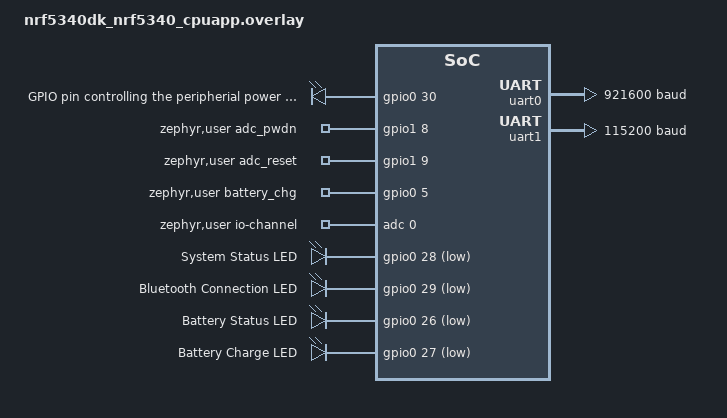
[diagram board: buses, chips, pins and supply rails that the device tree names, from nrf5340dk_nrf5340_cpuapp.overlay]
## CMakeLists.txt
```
cmake_minimum_required(VERSION 3.20.0)
find_package(Zephyr REQUIRED HINTS $ENV{ZEPHYR_BASE})

project(processing_firmware)

target_sources(app PRIVATE 
    src/main.c
    src/system_tasks.c
    src/processing.c
    src/ADS1298/ADS1298.c
)

target_include_directories(app PRIVATE src/ADS1298)
target_include_directories(app PRIVATE src)
```

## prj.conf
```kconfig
CONFIG_GPIO=y
CONFIG_SERIAL=y
CONFIG_UART_ASYNC_API=y
CONFIG_NRFX_UARTE0=y

CONFIG_EVENTS=y

CONFIG_ADC=y
CONFIG_ADC_ASYNC=y

CONFIG_SPI=y
CONFIG_SPI_ASYNC=y
CONFIG_POLL=y

CONFIG_FLASH=y

CONFIG_POWEROFF=y
CONFIG_PM_DEVICE=y

CONFIG_HEAP_MEM_POOL_SIZE=1024
CONFIG_FPU=y

CONFIG_CMSIS_DSP=y
CONFIG_CMSIS_DSP_SVM=y
CONFIG_CMSIS_DSP_FILTERING=y
CONFIG_CMSIS_DSP_STATISTICS=y
```

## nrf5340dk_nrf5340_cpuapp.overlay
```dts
// To get started, press Ctrl+Space to bring up the completion menu and view the available nodes.

// You can also use the buttons in the sidebar to perform actions on nodes.
// Actions currently available include:

// * Enabling / disabling the node
// * Adding the bus to a bus
// * Removing the node
// * Connecting ADC channels

// For more help, browse the DeviceTree documentation at https://docs.zephyrproject.org/latest/guides/dts/index.html
// You can also visit the nRF DeviceTree extension documentation at https://nrfconnect.github.io/vscode-nrf-connect/devicetree/nrfdevicetree.html

/ {
    power_switches {
        compatible = "gpio-leds";
        power_en: power_en {
            gpios = <&gpio0 30 GPIO_ACTIVE_HIGH>;
			label = "GPIO pin controlling the peripherial power circuitry";
        };
    };

    aliases {
        /delete-property/ sw1;
        /delete-property/ sw2;
        /delete-property/ sw3;
        powersw = &power_en;
        uart1 = &uart1;
		spi-flash0 = &w25q128;
    };

    buttons {
        /delete-node/ button_1;
        /delete-node/ button_2;
        /delete-node/ button_3;
    };
};

&uart0 {
    current-speed = <921600>;
};

&uart1 {
    current-speed = <115200>;
    status = "okay";
    compatible = "nordic,nrf-uarte";
};

&uart1_default {
    group1 {
        psels = <NRF_PSEL(UART_TX, 0, 6)>;
    };

    group2 {
        psels = <NRF_PSEL(UART_RX, 0, 7)>;
    };
};

&uart1_sleep {
    group1 {
        psels = <NRF_PSEL(UART_TX, 1, 0)>,
                <NRF_PSEL(UART_RX, 0, 31)>;
    };
};

&led0 {
    gpios = <&gpio0 28 (GPIO_ACTIVE_LOW | GPIO_OPEN_DRAIN | (1 << 8))>;
    label = "System Status LED";
};

&led1 {
    gpios = <&gpio0 29 (GPIO_ACTIVE_LOW | GPIO_OPEN_DRAIN | (1 << 8))>;
    label = "Bluetooth Connection LED";
};

&led2 {
    gpios = <&gpio0 26 (GPIO_ACTIVE_LOW | GPIO_OPEN_DRAIN | (1 << 8))>;
    label = "Battery Status LED";
};

&led3 {
    gpios = <&gpio0 27 (GPIO_ACTIVE_LOW | GPIO_OPEN_DRAIN | (1 << 8))>;
    label = "Battery Charge LED";
};

&i2c1 {
    status = "disabled";
};

&gpio_fwd {
    status = "disabled";
};

/ {
    zephyr,user {
        adc_pwdn-gpios = <&gpio1 8 GPIO_PULL_UP>;
        adc_reset-gpios = <&gpio1 9 GPIO_PULL_UP>;
        io-channels = <&adc 0>;
        battery_chg-gpios = <&gpio0 5 0>;
    };
};

&nfct {
    status = "disabled";
};

/delete-node/ &{/pin-controller/pwm0_default/group1/};

&w25q128 { //w25q256
    compatible = "nordic,qspi-nor";
    reg = <0>;
    /* W25Q256 supports only pp and pp4o */
    writeoc = "pp4o";
    /* W25Q256 supports all readoc options */
    readoc = "read4io";
    sck-frequency = <25000000>;
    jedec-id = [];
    sfdp-bfp = [];
    size = <268435456>;
    has-dpd;
    t-enter-dpd = <3000>;
    t-exit-dpd = <30000>;
    //quad-enable-requirements = "S2B1v1";
    quad-enable-requirements = "NONE";
};
```

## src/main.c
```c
#include <zephyr/kernel.h>
#include <zephyr/drivers/spi.h>

#include <system_tasks.h>
#include <processing.h>

#include <zephyr/drivers/flash.h>

#include <zephyr/device.h>
#include <zephyr/drivers/uart.h>

void button_press_handler() {
	if (get_recording_state()) {
		stop_recording();
		printk("Stopped.\n");
	} else {
		printk("Starting...\n");
		start_recording();
	}
}

static const struct device *flash_dev = DEVICE_DT_GET(DT_ALIAS(spi_flash0));

/* UART payload buffer element size. */
#define UART_BUF_SIZE 256

#define UART_WAIT_FOR_BUF_DELAY K_MSEC(50)
#define UART_RX_TIMEOUT 50000 /* Wait for RX complete event time in microseconds. */

static const struct device *uart = DEVICE_DT_GET(DT_NODELABEL(uart0));
static struct k_work_delayable uart_work;

K_SEM_DEFINE(nus_write_sem, 0, 1);

struct uart_data_t {
	void *fifo_reserved;
	uint8_t  data[UART_BUF_SIZE];
	uint16_t len;
};

static K_FIFO_DEFINE(fifo_uart_tx_data);
static K_FIFO_DEFINE(fifo_uart_rx_data);


static void uart_cb(const struct device *dev, struct uart_event *evt, void *user_data) {
	ARG_UNUSED(dev);

	static size_t aborted_len;
	struct uart_data_t *buf;
	static uint8_t *aborted_buf;
	static bool disable_req;

	switch (evt->type) {
	case UART_TX_DONE:
		//LOG_DBG("UART_TX_DONE");
		if ((evt->data.tx.len == 0) ||
		    (!evt->data.tx.buf)) {
			return;
		}

		if (aborted_buf) {
			buf = CONTAINER_OF(aborted_buf, struct uart_data_t,
					   data[0]);
			aborted_buf = NULL;
			aborted_len = 0;
		} else {
			buf = CONTAINER_OF(evt->data.tx.buf,
					   struct uart_data_t,
					   data[0]);
		}

		tx_done();

		k_free(buf);

		buf = k_fifo_get(&fifo_uart_tx_data, K_NO_WAIT);
		if (!buf) {
			return;
		}

		if (uart_tx(uart, buf->data, buf->len, SYS_FOREVER_MS)) {
			//LOG_WRN("Failed to send data over UART");
		}

		break;

	case UART_RX_RDY:
		//LOG_DBG("UART_RX_RDY");
		/*buf = CONTAINER_OF(evt->data.rx.buf, struct uart_data_t, data[0]);
		buf->len += evt->data.rx.len;

		if (disable_req) {
			return;
		}

		if (!true) {   // Discard unrelevant messages
			buf->len = 0;
		}

		disable_req = true;
		uart_rx_disable(uart);
*/
		break;

	case UART_RX_DISABLED:
		//LOG_DBG("UART_RX_DISABLED");
		/*disable_req = false;

		buf = k_malloc(sizeof(*buf));
		if (buf) {
			buf->len = 0;
		} else {
			//LOG_WRN("Not able to allocate UART receive buffer");
			k_work_reschedule(&uart_work, UART_WAIT_FOR_BUF_DELAY);
			return;
		}

		uart_rx_enable(uart, buf->data, sizeof(buf->data),
			       UART_RX_TIMEOUT);
*/
		break;

	case UART_RX_BUF_REQUEST:
		//LOG_DBG("UART_RX_BUF_REQUEST");
		/*buf = k_malloc(sizeof(*buf));
		if (buf) {
			buf->len = 0;
			uart_rx_buf_rsp(uart, buf->data, sizeof(buf->data));
		} else {
			//LOG_WRN("Not able to allocate UART receive buffer");
		}
*/
		break;

	case UART_RX_BUF_RELEASED:
		//LOG_DBG("UART_RX_BUF_RELEASED");
		/*buf = CONTAINER_OF(evt->data.rx_buf.buf, struct uart_data_t, data[0]);

		if (buf->len > 0) {
			k_fifo_put(&fifo_uart_rx_data, buf);
		} else {
			k_free(buf);
		}
*/
		break;

	case UART_TX_ABORTED:
		//LOG_DBG("UART_TX_ABORTED");
		if (!aborted_buf) {
			aborted_buf = (uint8_t *)evt->data.tx.buf;
		}

		aborted_len += evt->data.tx.len;
		buf = CONTAINER_OF(aborted_buf, struct uart_data_t,
				   data[0]);

		uart_tx(uart, &buf->data[aborted_len],
			buf->len - aborted_len, SYS_FOREVER_MS);

		break;

	default:
		break;
	}
}

static void uart_work_handler(struct k_work *item) {
	struct uart_data_t *buf;

	buf = k_malloc(sizeof(*buf));
	if (buf) {
		buf->len = 0;
	} else {
		//LOG_WRN("Not able to allocate UART receive buffer");
		k_work_reschedule(&uart_work, UART_WAIT_FOR_BUF_DELAY);
		return;
	}

	uart_rx_enable(uart, buf->data, sizeof(buf->data), UART_RX_TIMEOUT);
}

static int uart_init(void) {
	int err;
	struct uart_data_t *rx;

	if (!device_is_ready(uart)) {
		//LOG_ERR("UART device not ready");
		return -ENODEV;
	}

	rx = k_malloc(sizeof(*rx));
	if (rx) {
		rx->len = 0;
	} else {
		return -ENOMEM;
	}

	k_work_init_delayable(&uart_work, uart_work_handler);

	err = uart_callback_set(uart, uart_cb, NULL);
	if (err) {
		return err;
	}

	return uart_rx_enable(uart, rx->data, sizeof(rx->data), UART_RX_TIMEOUT);
}

void process_incoming_UART_message(uint8_t *buf_data, uint16_t buf_len) {
	return;
}

void send_UART_data(char *buf_data, uint8_t len) {
	struct uart_data_t *tx = k_malloc(sizeof(*tx));

	tx->len = len;
	memcpy(&tx->data[0], buf_data, len);

	if (uart_tx(uart, tx->data, tx->len, SYS_FOREVER_MS)) {
		k_fifo_put(&fifo_uart_tx_data, tx);
	}
}

void before_sleep() {
	k_msleep(200);
	printk("SLEEPING\n");
}

#define UART_RX_THREAD_STACK_SIZE 500
#define UART_RX_THREAD_PRIORITY 5

extern void handle_uart_rx(void *, void *, void *) {
	while (1) {
		/* Wait indefinitely for data to be sent over Bluetooth */
		struct uart_data_t *buf = k_fifo_get(&fifo_uart_rx_data, K_FOREVER);
		process_incoming_UART_message(buf->data, buf->len);
		k_free(buf);
	}
};

K_THREAD_DEFINE(uart_rx_thread_tid, UART_RX_THREAD_STACK_SIZE,
                handle_uart_rx, NULL, NULL, NULL,
                UART_RX_THREAD_PRIORITY, 0, 0);

static const struct gpio_dt_spec power = GPIO_DT_SPEC_GET(POWER_SW_NODE, gpios);

int main(void) {
	system_init(&before_sleep, &button_press_handler);
	k_msleep(500);

	NRF_CLOCK_S->HFCLKCTRL = (CLOCK_HFCLKCTRL_HCLK_Div1 << CLOCK_HFCLKCTRL_HCLK_Pos);

	printk("Starting\n");

	uart_init();

	processing_init();

	clear_sytem_error();

	while (1) {
		k_msleep(5000);
	}

	return(0);	
}
```

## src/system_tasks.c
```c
#include "system_tasks.h"

static const struct gpio_dt_spec led_stat = GPIO_DT_SPEC_GET(LED_STAT_NODE, gpios);
static const struct gpio_dt_spec led_ble = GPIO_DT_SPEC_GET(LED_BLE_NODE, gpios);
static const struct gpio_dt_spec led_batt = GPIO_DT_SPEC_GET(LED_BATT_NODE, gpios);
static const struct gpio_dt_spec led_chg = GPIO_DT_SPEC_GET(LED_CHG_NODE, gpios);

static const struct gpio_dt_spec power_sw = GPIO_DT_SPEC_GET(POWER_SW_NODE, gpios);

static const struct gpio_dt_spec wake_button = GPIO_DT_SPEC_GET(WAKE_SW_NODE, gpios);
static struct gpio_callback wake_button_cb_data;

const struct gpio_dt_spec batt_chg_spec = {
	.port = DEVICE_DT_GET(DT_NODELABEL(gpio0)),
	.pin = 5,
	.dt_flags = GPIO_ACTIVE_LOW
};
static struct gpio_callback batt_chg_cb_data;

K_THREAD_STACK_DEFINE(blink_stack_area, BLINK_STACK_SIZE);

/* Custom workque designated only to process blink works. */
struct k_work_q blink_work_q;

/* Work submitted by wake button ISRs and processed by handle_button function. */
struct k_work button_work;

K_WORK_DEFINE(wake_blink_work, handle_wake_blink);
K_WORK_DEFINE(blink_work, handle_blink);
K_WORK_DEFINE(normal_status_blink_work, handle_normal_status_blink);
K_WORK_DEFINE(recording_status_blink_work, handle_recording_status_blink);
K_WORK_DEFINE(error_blink_work, handle_error_blink);

K_TIMER_DEFINE(blink_timer, blink_timer_handler, NULL);

bool system_standby_status = true;

uint8_t system_error_count = 0;

/* Charging (true) or discharging (false) state of the battery.
   It is detemined based on the trend of the consecutive battery pack voltage measurements. */
bool battery_charging = false;
bool charger_connected = false;

/* State of the auto sleep counter. Also shows if recording or other continous process is going on. */
bool auto_sleep_counter_running = true;
uint32_t auto_sleep_counter = 0;
uint32_t auto_sleep_counter_limit = 600 / BLINKING_SLEEP;	// 600 [sec] -> 10 minutes

int64_t wake_button_pressed_time = 0;
int64_t wake_button_released_time = 0;

void handle_wake_blink(struct k_work *work) {
	k_msleep(SYSTEM_WAKE_LENGTH);
	gpio_pin_set_dt(&led_stat, 0);
	gpio_pin_set_dt(&led_ble, 0);
	gpio_pin_set_dt(&led_batt, 0);
	gpio_pin_set_dt(&led_chg, 0);
}

void blink_timer_handler(struct k_timer *timer) {
    k_work_submit(&blink_work);
}

void wake_button_init_interrupt(const struct device *dev, struct gpio_callback *cb, uint32_t pins) {
	wake_button_pressed_time = k_uptime_get();
	gpio_pin_interrupt_configure_dt(&wake_button, GPIO_INT_EDGE_BOTH);
	gpio_remove_callback(wake_button.port, &wake_button_cb_data);
	gpio_init_callback(&wake_button_cb_data, wake_button_interrupt, BIT(wake_button.pin));
	gpio_add_callback(wake_button.port, &wake_button_cb_data);
}

void wake_button_interrupt(const struct device *dev, struct gpio_callback *cb, uint32_t pins) {
	if (gpio_pin_get_dt(&wake_button)) {   // Rising edge
		wake_button_pressed_time = k_uptime_get();
		k_timer_stop(&blink_timer);   // Stops the blink_timer in order to turn on the LEDs
		gpio_pin_set_dt(&led_stat, 1);   // Resets the LED if the wake button released before specified time
		gpio_pin_set_dt(&led_ble, 1);
		k_work_submit_to_queue(&blink_work_q, &wake_blink_work);   // Shows if the wake button can be released after specified time
	} else {   // Falling edge
		wake_button_released_time = k_uptime_get();
		gpio_pin_set_dt(&led_stat, 0);   // Resets the LED if the wake button released before specified time
		gpio_pin_set_dt(&led_ble, 0);
		k_work_submit(&button_work);
		k_timer_start(&blink_timer, K_MSEC(500), K_SECONDS(2));   // Resets the blink_timer
	}
}

void battery_charge_interrupt(const struct device *dev, struct gpio_callback *cb, uint32_t pins) {
	if (gpio_pin_get_dt(&batt_chg_spec)) {   // Rising edge
		gpio_pin_set_dt(&led_chg, 1);
		gpio_pin_set_dt(&led_batt, 1);
		charger_connected = true;
		battery_charging = true;
	} else {   // Falling edge
		gpio_pin_set_dt(&led_batt, 0);
		battery_charging = false;
		read_battery();
	}
}

/* Function pointer of callback function called on simple button press. */
void (*button_press_cb)(void) = NULL;

void handle_button(struct k_work *item) {
	if (wake_button_released_time-wake_button_pressed_time >= SYSTEM_WAKE_LENGTH) {
		if (!system_standby_status) {
			system_sleep();
		}
	} else if (wake_button_released_time-wake_button_pressed_time >= BUTTON_MIN) {
		if (!system_standby_status) {
			if (button_press_cb != NULL) {
				button_press_cb();
			}
		}
	}
}

/* *--------------- */
void handle_normal_status_blink(struct k_work *work) {
	gpio_pin_set_dt(&led_stat, 1);
	k_msleep(50);
	gpio_pin_set_dt(&led_stat, 0);
}

/* *--******------- */
void handle_recording_status_blink(struct k_work *work) {
	gpio_pin_set_dt(&led_stat, 1);
	k_msleep(50);
	gpio_pin_set_dt(&led_stat, 0);
	k_msleep(100);
	gpio_pin_set_dt(&led_stat, 1);
	k_msleep(500);
	gpio_pin_set_dt(&led_stat, 0);
}

/* ************---- */
void handle_error_blink(struct k_work *work) {}

void handle_blink(struct k_work *work) {
    if (system_error_count > 0) {
		k_work_submit_to_queue(&blink_work_q, &error_blink_work);
	}

	if (!auto_sleep_counter_running) {   // Recording in progeress
		k_work_submit_to_queue(&blink_work_q, &recording_status_blink_work);
	} else {
		k_work_submit_to_queue(&blink_work_q, &normal_status_blink_work);
		auto_sleep_counter++;
		if (auto_sleep_counter >= auto_sleep_counter_limit) {
            //system_sleep();
		}
	}
}

void raise_sytem_error() {
	if (system_error_count < 255) {
		system_error_count++;
	}
}

void clear_sytem_error() {
	if (system_error_count > 0) {
		system_error_count--;
	}
}

void reset_system_auto_sleep_counter() {
	auto_sleep_counter = 0;
}

void stop_system_auto_sleep_counter() {
	k_timer_stop(&blink_timer);
	auto_sleep_counter_running = false;
	auto_sleep_counter = 0;
}

void start_system_auto_sleep_counter() {
	auto_sleep_counter = 0;
	auto_sleep_counter_running = true;
	k_timer_start(&blink_timer, K_MSEC(500), K_SECONDS(2));
}

static const struct device *adc_dev = DEVICE_DT_GET(ADC_NODE);

struct adc_channel_cfg battery_adc_ch_cfg = {
	.gain = ADC_GAIN_1_6,
	.reference = ADC_REF_INTERNAL,
	.acquisition_time = ADC_ACQ_TIME_DEFAULT,
	.channel_id = 0,
	.input_positive = SAADC_CH_PSELN_PSELN_AnalogInput0
};

static int16_t battery_adc_sample_buffer;
int32_t battery_pre_mv_value;

struct adc_sequence battery_adc_sequence = {
	.channels = BIT(0),
	.buffer = &battery_adc_sample_buffer,
	.buffer_size = sizeof(battery_adc_sample_buffer),
	.resolution = 10
};

bool check_battery() {
    if (adc_read(adc_dev, &battery_adc_sequence) < 0) {
		//printk("ADC error");
        return false;
    }

    int32_t battery_mv_value = battery_adc_sample_buffer;
	adc_raw_to_millivolts(adc_ref_internal(adc_dev), battery_adc_ch_cfg.gain, battery_adc_sequence.resolution, &battery_mv_value);

    battery_mv_value = battery_mv_value*3.609-49.514;
	battery_pre_mv_value = battery_mv_value;

	int perc = (float)((battery_mv_value-BATTERY_OFF_VALUE)/(float)(BATTERY_CHARGED_VALUE-BATTERY_OFF_VALUE))*100.0;

    if (battery_mv_value > BATTERY_OFF_VALUE && (perc > BATTERY_CRITICAL_VALUE)) {
        return true;
    }

	//printk("BATT: %d [mv], %d", battery_mv_value, perc);

    return false;
}

int32_t read_battery() {
    int32_t battery_mv_value = battery_adc_sample_buffer;
	adc_raw_to_millivolts(adc_ref_internal(adc_dev), battery_adc_ch_cfg.gain, battery_adc_sequence.resolution, &battery_mv_value);

	battery_mv_value = battery_mv_value*3.609-49.514;

    if (battery_pre_mv_value > battery_mv_value + BATTERY_THRESHOLD) {
        battery_pre_mv_value = battery_mv_value;
    } else if (battery_pre_mv_value < battery_mv_value - BATTERY_THRESHOLD) {
        battery_pre_mv_value = battery_mv_value;
    }

	if (battery_pre_mv_value > 4400) {
		charger_connected = true;
		gpio_pin_set_dt(&led_chg, 1);
	} else if (!battery_charging) {
		charger_connected = false;
		gpio_pin_set_dt(&led_chg, 0);
	}

	if (battery_pre_mv_value < 3000) {
		gpio_pin_set_dt(&led_batt, 1);
	} else {
		gpio_pin_set_dt(&led_batt, 0);
	}

    adc_read_async(adc_dev, &battery_adc_sequence, NULL);

	return battery_mv_value;
}

K_THREAD_STACK_DEFINE(system_tasks_stack_area, 1024);
struct k_thread system_tasks_thread_data;

/* Function pointer of callback function called before system enters in sleep mode. */
void (*system_sleep_cb)(void) = NULL;

void system_sleep() {
    gpio_pin_set_dt(&power_sw, 0);
    gpio_pin_set_dt(&led_stat, 0);
    gpio_pin_set_dt(&led_ble, 0);

    //printk("STANDBY\n");

    if (system_sleep_cb != NULL) {
        system_sleep_cb();
    }

    system_standby_status = true;
	gpio_pin_configure_dt(&led_stat, GPIO_OUTPUT_INACTIVE);
	gpio_pin_configure_dt(&led_ble, GPIO_OUTPUT_INACTIVE);
    sys_poweroff();
}

void system_init(void (*on_system_sleep_cb)(void), void (*on_button_press_cb)(void)) {
    system_sleep_cb = on_system_sleep_cb;
	button_press_cb = on_button_press_cb;

    gpio_pin_configure_dt(&wake_button, GPIO_INPUT);
    gpio_pin_configure_dt(&batt_chg_spec, GPIO_INPUT);

	nrf_gpio_cfg_input(NRF_DT_GPIOS_TO_PSEL(WAKE_SW_NODE, gpios), NRF_GPIO_PIN_PULLUP);
	nrf_gpio_cfg_sense_set(NRF_DT_GPIOS_TO_PSEL(WAKE_SW_NODE, gpios), NRF_GPIO_PIN_SENSE_LOW);

	adc_channel_setup(adc_dev, &battery_adc_ch_cfg);
	check_battery();

	k_msleep(500);

	if (!check_battery()) {
		k_msleep(1000);
		sys_poweroff();
	}

	while (system_standby_status && gpio_pin_get_dt(&wake_button)) {
		if (k_uptime_get() < SYSTEM_WAKE_LENGTH) {
			k_msleep(10);
		} else {
			system_standby_status = false;
			gpio_pin_configure_dt(&power_sw, GPIO_OUTPUT_ACTIVE);
		}
	}

	if (system_standby_status) {
		gpio_pin_configure_dt(&power_sw, GPIO_OUTPUT_INACTIVE);
		gpio_pin_configure_dt(&led_stat, GPIO_OUTPUT_INACTIVE);
		gpio_pin_configure_dt(&led_ble, GPIO_OUTPUT_INACTIVE);
		sys_poweroff();
	}

	k_msleep(500);

    k_thread_create(&system_tasks_thread_data, system_tasks_stack_area, K_THREAD_STACK_SIZEOF(system_tasks_stack_area), system_tasks, NULL, NULL, NULL, SYSTEM_TASKS_THREAD_PRIORITY, 0, K_NO_WAIT);
}

void system_tasks(void *, void *, void *) {
	gpio_pin_interrupt_configure_dt(&wake_button, GPIO_INT_EDGE_TO_ACTIVE);

	nrf_gpio_cfg_input(NRF_DT_GPIOS_TO_PSEL(WAKE_SW_NODE, gpios), NRF_GPIO_PIN_PULLUP);
	nrf_gpio_cfg_sense_set(NRF_DT_GPIOS_TO_PSEL(WAKE_SW_NODE, gpios), NRF_GPIO_PIN_SENSE_LOW);

	gpio_init_callback(&wake_button_cb_data, wake_button_init_interrupt, BIT(wake_button.pin));
	gpio_add_callback(wake_button.port, &wake_button_cb_data);

	gpio_pin_interrupt_configure_dt(&batt_chg_spec, GPIO_INT_EDGE_BOTH);

	nrf_gpio_cfg_input(batt_chg_spec.pin, NRF_GPIO_PIN_PULLUP);
	nrf_gpio_cfg_sense_set(batt_chg_spec.pin, NRF_GPIO_PIN_SENSE_LOW);

	gpio_init_callback(&batt_chg_cb_data, battery_charge_interrupt, BIT(batt_chg_spec.pin));
	gpio_add_callback(batt_chg_spec.port, &batt_chg_cb_data);

	k_work_queue_init(&blink_work_q);
	k_work_queue_start(&blink_work_q, blink_stack_area, K_THREAD_STACK_SIZEOF(blink_stack_area), BLINK_PRIORITY, NULL);

	gpio_pin_configure_dt(&led_stat, GPIO_OUTPUT_ACTIVE);
	gpio_pin_configure_dt(&led_ble, GPIO_OUTPUT_ACTIVE);
	gpio_pin_configure_dt(&led_batt, GPIO_OUTPUT_INACTIVE);
	gpio_pin_configure_dt(&led_chg, GPIO_OUTPUT_INACTIVE);

	k_msleep(600);
	gpio_pin_set_dt(&led_stat, 0);
	gpio_pin_set_dt(&led_ble, 0);

	k_work_init(&button_work, handle_button);

	k_timer_start(&blink_timer, K_SECONDS(2), K_SECONDS(2));

	if (gpio_pin_get_dt(&batt_chg_spec)) {   // Rising edge
		gpio_pin_set_dt(&led_chg, 1);
		gpio_pin_set_dt(&led_batt, 1);
		charger_connected = true;
		battery_charging = true;
	} else {   // Falling edge
		gpio_pin_set_dt(&led_batt, 0);
		battery_charging = false;
		read_battery();
	}

    while (1) {
		int32_t batt = read_battery();
		//printk("BATT PRE: %d, ACT: %d [mv]\n", battery_pre_mv_value, batt);
        k_msleep(BATTERY_CHECK_SLEEP);
    }
}
```

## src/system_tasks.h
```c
#include <zephyr/kernel.h>
#include <zephyr/drivers/gpio.h>
#include <zephyr/drivers/adc.h>
#include <zephyr/sys/poweroff.h>
#include <hal/nrf_gpio.h>
#include <zephyr/pm/device.h>

#define LED_STAT_NODE 	DT_ALIAS(led0)
#define LED_BLE_NODE 	DT_ALIAS(led1)
#define LED_BATT_NODE 	DT_ALIAS(led2)
#define LED_CHG_NODE 	DT_ALIAS(led3)

#define POWER_SW_NODE	DT_ALIAS(powersw)

#define WAKE_SW_NODE	DT_ALIAS(sw0)

/* Thread sleep in seconds between blinking work submits. */
#define BLINKING_SLEEP 2

/* Milliseconds required keeping the wake button pressed to perform system wake-up. */
#define SYSTEM_WAKE_LENGTH 2000

/* Milliseconds required keeping the wake button pressed to perform button function. */
#define BUTTON_MIN 10

#define BLINK_STACK_SIZE 512
#define BLINK_PRIORITY 5

/* Processes new work submitted during device wake-up. Typically turns on the LEDs and turns them off 
   after specified time required pressing the button to wake up the device. */
void handle_wake_blink(struct k_work *work);

/* Processes new work submitted periodically by blink_timer. 
   Tipically submits further works to blink the LEDs according to the system state. */
void handle_blink(struct k_work *work);

/* Submits new work periodically to blink the LEDs. */
void blink_timer_handler(struct k_timer *timer);

/* Button interrupt routine performed on first falling edge right after successfully waking up the device. */
void wake_button_init_interrupt(const struct device *dev, struct gpio_callback *cb, uint32_t pins);

/* Button interrupt routine performed on both rising and falling edge. */
void wake_button_interrupt(const struct device *dev, struct gpio_callback *cb, uint32_t pins);

/* Processes new work submitted by wake button interrupt routines. */
void handle_button(struct k_work *item);

/* Processes new work submitted to blink the STAT LED in normal operation. */
void handle_normal_status_blink(struct k_work *work);

/* Processes new work submitted to blink the STAT LED during signal recording and other continous operations. */
void handle_recording_status_blink(struct k_work *work);

/* Processes new work submitted to blink the ERR LED in case of system error. */
void handle_error_blink(struct k_work *work);

/* Increases the system error counter. */
void raise_sytem_error();

/* Decreases the system error counter. */
void clear_sytem_error();

/* Reset the auto sleep counter to zero, but it does not start, nor stops it. */
void reset_system_auto_sleep_counter();

/* Stops and resets the auto sleep counter. */
void stop_system_auto_sleep_counter();

/* Resets and start the auto sleep counter. */
void start_system_auto_sleep_counter();

/* Thread sleep in milliseconds between battery voltage measurements. */
#define BATTERY_CHECK_SLEEP 5000

/* The maximal voltage of the battery pack in millivolts.
   This is the value of the battery, when it is fully charged. */
#define BATTERY_CHARGED_VALUE 4200

/* The turn-off voltage of the battery pack in millivolts. */
#define BATTERY_OFF_VALUE 2800

/* The critical power percentage of the battery pack. */
#define BATTERY_CRITICAL_VALUE 2

/* The warning power percentage of the battery pack. */
#define BATTERY_WARNING_VALUE 20

/* Threshold in millivolts during battery readings checking battery_charging state. */
#define BATTERY_THRESHOLD 50

#define ADC_NODE DT_NODELABEL(adc)

/* Returns true if the battery voltage reaches the critical value. */
bool check_battery();

/** Reads and processes the battery voltage level.
    @return the actual reading value in millivolts. */
int32_t read_battery();

#define SYSTEM_TASKS_THREAD_PRIORITY 0

/** Checks if wake-up conditions are met. Once the device is successfully waked up, it initiates the system_tasks thread.
   @param on_system_sleep_cb callback funtion pointer. Called before system enters in sleep mode. */
void system_init(void (*on_system_sleep_cb)(void), void (*on_button_press_cb)(void));

void system_sleep();

/* Function executed by the system_tasks thread. 
   Initiates the system peripherials and starts the timers to perform system supervision tasks.*/
void system_tasks(void *, void *, void *);
```
